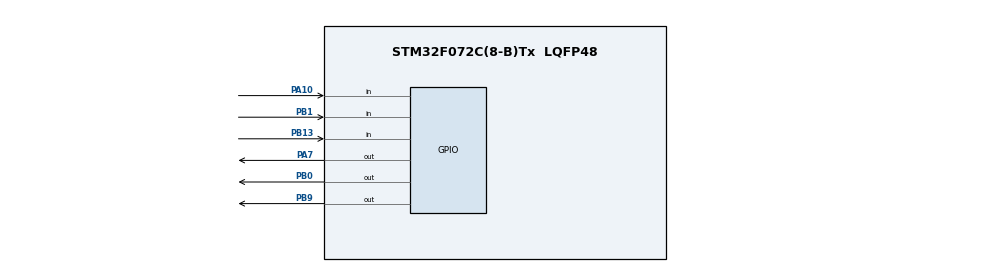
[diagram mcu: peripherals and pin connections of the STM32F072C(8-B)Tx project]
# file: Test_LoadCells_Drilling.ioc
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Mcu.Family=STM32F0
Mcu.Name=STM32F072C(8-B)Tx
Mcu.Package=LQFP48
PA10.Signal=GPIO_Input
PA13.Mode=Serial_Wire
PA13.Signal=SYS_SWDIO
PA14.Mode=Serial_Wire
PA14.Signal=SYS_SWCLK
PA7.Signal=GPIO_Output
PB0.Signal=GPIO_Output
PB1.Signal=GPIO_Input
PB13.Signal=GPIO_Input
PB9.Signal=GPIO_Output
PF0-OSC_IN.Mode=HSE-External-Oscillator
PF0-OSC_IN.Signal=RCC_OSC_IN
PF1-OSC_OUT.Mode=HSE-External-Oscillator
PF1-OSC_OUT.Signal=RCC_OSC_OUT
ProjectManager.HeapSize=0x200
ProjectManager.StackSize=0x400
ProjectManager.TargetToolchain=MDK-ARM V5.32
TIM2.Period=65535
TIM2.Prescaler=71
VP_TIM2_VS_ClockSourceINT.Mode=Internal
board=custom

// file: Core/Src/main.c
/* USER CODE BEGIN Header */
/**
  ******************************************************************************
  * @file           : main.c
  * @brief          : Main program body
  ******************************************************************************
  * @attention
  *
  * Copyright (c) 2025 STMicroelectronics.
  * All rights reserved.
  *
  * This software is licensed under terms that can be found in the LICENSE file
  * in the root directory of this software component.
  * If no LICENSE file comes with this software, it is provided AS-IS.
  *
  ******************************************************************************
  */
/* USER CODE END Header */
#include "main.h"

TIM_HandleTypeDef htim2;

void SystemClock_Config(void);
static void MX_GPIO_Init(void);
static void MX_TIM2_Init(void);

/* USER CODE BEGIN 0 */
#define DT_PIN GPIO_PIN_1
#define DT_PORT GPIOB
#define SCK_PIN GPIO_PIN_7
#define SCK_PORT GPIOA

uint32_t tare = 8604927;//8564421 // 8600753
float knownOriginal = 186000;  // in milli gram // 186000
float knownHX711 = 159027; // 155233 //157827
double weight;

void microDelay(uint16_t delay)
{
  __HAL_TIM_SET_COUNTER(&htim2, 0);
  while (__HAL_TIM_GET_COUNTER(&htim2) < delay);
}

int32_t getHX711(void)
{
  uint32_t data = 0;
  uint32_t startTime = HAL_GetTick();
  while(HAL_GPIO_ReadPin(DT_PORT, DT_PIN) == GPIO_PIN_SET)
  {
    if(HAL_GetTick() - startTime > 200)
      return 0;
  }
  for(int8_t len=0; len<24 ; len++)
  {
    HAL_GPIO_WritePin(SCK_PORT, SCK_PIN, GPIO_PIN_SET);
    microDelay(1);
    data = data << 1;
    HAL_GPIO_WritePin(SCK_PORT, SCK_PIN, GPIO_PIN_RESET);
    microDelay(1);
    if(HAL_GPIO_ReadPin(DT_PORT, DT_PIN) == GPIO_PIN_SET)
      data ++;
  }
  data = data ^ 0x800000;
  HAL_GPIO_WritePin(SCK_PORT, SCK_PIN, GPIO_PIN_SET);
  microDelay(1);
  HAL_GPIO_WritePin(SCK_PORT, SCK_PIN, GPIO_PIN_RESET);
  microDelay(1);
  return data;
}

int weigh()
{
  int32_t  total = 0;
  int32_t  samples = 50;
  int milligram;
  float coefficient;
  for(uint16_t i=0 ; i<samples ; i++)
  {
      total += getHX711();
  }
  int32_t average = (int32_t)(total / samples);
  coefficient = knownOriginal / knownHX711;
  milligram = (int)(average-tare)*coefficient;
  return milligram;
}
/* USER CODE END 0 */

int main(void)
{

  /* MCU Configuration--------------------------------------------------------*/

  /* Reset of all peripherals, Initializes the Flash interface and the Systick. */
  HAL_Init();

  /* Configure the system clock */
  SystemClock_Config();

  /* Initialize all configured peripherals */
  MX_GPIO_Init();
  MX_TIM2_Init();
  /* USER CODE BEGIN 2 */
	HAL_TIM_Base_Start(&htim2);
  HAL_GPIO_WritePin(SCK_PORT, SCK_PIN, GPIO_PIN_SET);
  HAL_Delay(10);
  HAL_GPIO_WritePin(SCK_PORT, SCK_PIN, GPIO_PIN_RESET);
  HAL_Delay(10);
  /* USER CODE END 2 */

  /* Infinite loop */
  /* USER CODE BEGIN WHILE */
  while (1)
  {
		weight = (double)weigh()/1000;
    /* USER CODE END WHILE */

  }
}

void SystemClock_Config(void)
{
  RCC_OscInitTypeDef RCC_OscInitStruct = {0};
  RCC_ClkInitTypeDef RCC_ClkInitStruct = {0};

  /** Initializes the RCC Oscillators according to the specified parameters
  * in the RCC_OscInitTypeDef structure.
  */
  RCC_OscInitStruct.OscillatorType = RCC_OSCILLATORTYPE_HSI;
  RCC_OscInitStruct.HSIState = RCC_HSI_ON;
  RCC_OscInitStruct.HSICalibrationValue = RCC_HSICALIBRATION_DEFAULT;
  RCC_OscInitStruct.PLL.PLLState = RCC_PLL_NONE;
  if (HAL_RCC_OscConfig(&RCC_OscInitStruct) != HAL_OK)
  {
    Error_Handler();
  }

  /** Initializes the CPU, AHB and APB buses clocks
  */
  RCC_ClkInitStruct.ClockType = RCC_CLOCKTYPE_HCLK|RCC_CLOCKTYPE_SYSCLK
                              |RCC_CLOCKTYPE_PCLK1;
  RCC_ClkInitStruct.SYSCLKSource = RCC_SYSCLKSOURCE_HSI;
  RCC_ClkInitStruct.AHBCLKDivider = RCC_SYSCLK_DIV1;
  RCC_ClkInitStruct.APB1CLKDivider = RCC_HCLK_DIV1;

  if (HAL_RCC_ClockConfig(&RCC_ClkInitStruct, FLASH_LATENCY_0) != HAL_OK)
  {
    Error_Handler();
  }
}

static void MX_TIM2_Init(void)
{

  TIM_ClockConfigTypeDef sClockSourceConfig = {0};
  TIM_MasterConfigTypeDef sMasterConfig = {0};

  htim2.Instance = TIM2;
  htim2.Init.Prescaler = 71;
  htim2.Init.CounterMode = TIM_COUNTERMODE_UP;
  htim2.Init.Period = 65535;
  htim2.Init.ClockDivision = TIM_CLOCKDIVISION_DIV1;
  htim2.Init.AutoReloadPreload = TIM_AUTORELOAD_PRELOAD_DISABLE;
  if (HAL_TIM_Base_Init(&htim2) != HAL_OK)
  {
    Error_Handler();
  }
  sClockSourceConfig.ClockSource = TIM_CLOCKSOURCE_INTERNAL;
  if (HAL_TIM_ConfigClockSource(&htim2, &sClockSourceConfig) != HAL_OK)
  {
    Error_Handler();
  }
  sMasterConfig.MasterOutputTrigger = TIM_TRGO_RESET;
  sMasterConfig.MasterSlaveMode = TIM_MASTERSLAVEMODE_DISABLE;
  if (HAL_TIMEx_MasterConfigSynchronization(&htim2, &sMasterConfig) != HAL_OK)
  {
    Error_Handler();
  }

}

static void MX_GPIO_Init(void)
{
  GPIO_InitTypeDef GPIO_InitStruct = {0};

  /* GPIO Ports Clock Enable */
  __HAL_RCC_GPIOF_CLK_ENABLE();
  __HAL_RCC_GPIOA_CLK_ENABLE();
  __HAL_RCC_GPIOB_CLK_ENABLE();

  /*Configure GPIO pin Output Level */
  HAL_GPIO_WritePin(GPIOA, GPIO_PIN_7, GPIO_PIN_RESET);

  /*Configure GPIO pin Output Level */
  HAL_GPIO_WritePin(GPIOB, GPIO_PIN_0|GPIO_PIN_9, GPIO_PIN_RESET);

  /*Configure GPIO pin : PA7 */
  GPIO_InitStruct.Pin = GPIO_PIN_7;
  GPIO_InitStruct.Mode = GPIO_MODE_OUTPUT_PP;
  GPIO_InitStruct.Pull = GPIO_NOPULL;
  GPIO_InitStruct.Speed = GPIO_SPEED_FREQ_LOW;
  HAL_GPIO_Init(GPIOA, &GPIO_InitStruct);

  /*Configure GPIO pins : PB0 PB9 */
  GPIO_InitStruct.Pin = GPIO_PIN_0|GPIO_PIN_9;
  GPIO_InitStruct.Mode = GPIO_MODE_OUTPUT_PP;
  GPIO_InitStruct.Pull = GPIO_NOPULL;
  GPIO_InitStruct.Speed = GPIO_SPEED_FREQ_LOW;
  HAL_GPIO_Init(GPIOB, &GPIO_InitStruct);

  /*Configure GPIO pins : PB1 PB13 */
  GPIO_InitStruct.Pin = GPIO_PIN_1|GPIO_PIN_13;
  GPIO_InitStruct.Mode = GPIO_MODE_INPUT;
  GPIO_InitStruct.Pull = GPIO_NOPULL;
  HAL_GPIO_Init(GPIOB, &GPIO_InitStruct);

  /*Configure GPIO pin : PA10 */
  GPIO_InitStruct.Pin = GPIO_PIN_10;
  GPIO_InitStruct.Mode = GPIO_MODE_INPUT;
  GPIO_InitStruct.Pull = GPIO_NOPULL;
  HAL_GPIO_Init(GPIOA, &GPIO_InitStruct);

}

void Error_Handler(void)
{
  __disable_irq();
  while (1)
  {
  }
}
